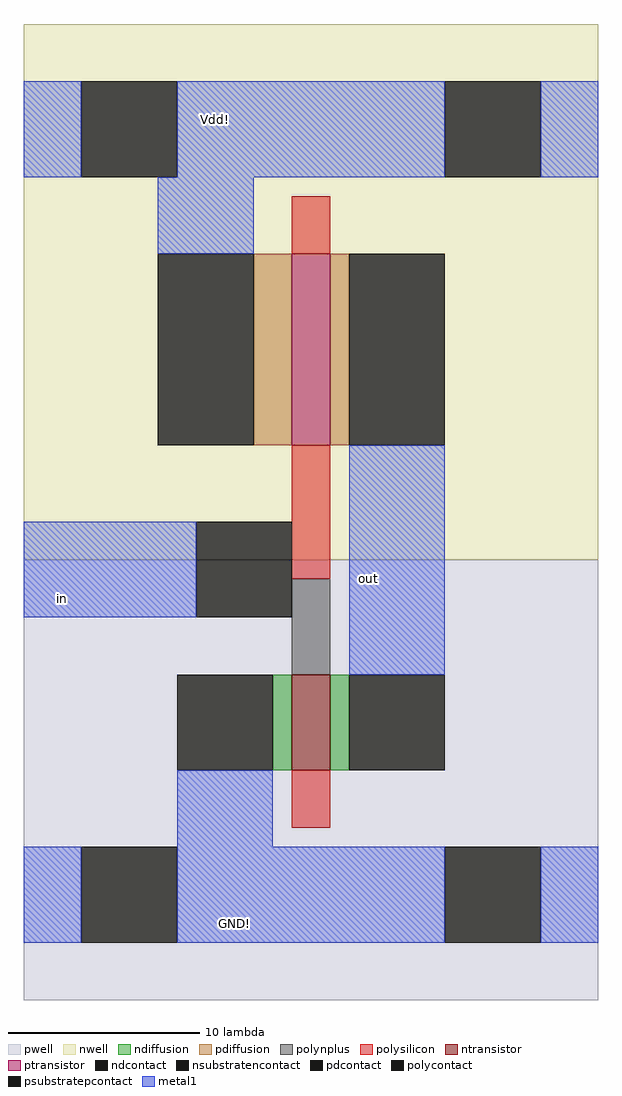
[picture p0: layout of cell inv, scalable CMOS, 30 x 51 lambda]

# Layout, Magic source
magic
tech scmos
<< nwell >>
rect -9 16 21 44
<< pwell >>
rect -9 -7 21 16
<< ntransistor >>
rect 5 5 7 10
<< ptransistor >>
rect 5 22 7 32
<< ndiffusion >>
rect 4 5 5 10
rect 7 5 8 10
<< pdiffusion >>
rect 3 22 5 32
rect 7 22 8 32
<< ndcontact >>
rect -1 5 4 10
rect 8 5 13 10
<< pdcontact >>
rect -2 22 3 32
rect 8 22 13 32
<< psubstratepcontact >>
rect -6 -4 -1 1
rect 13 -4 18 1
<< nsubstratencontact >>
rect -6 36 -1 41
rect 13 36 18 41
<< polysilicon >>
rect 5 32 7 35
rect 5 15 7 22
rect 5 2 7 5
<< polycontact >>
rect 0 13 5 18
<< polynplus >>
rect 5 10 7 15
<< metal1 >>
rect -9 36 -6 41
rect -1 36 13 41
rect 18 36 21 41
rect -2 32 3 36
rect -9 13 0 18
rect 8 10 13 22
rect -1 1 4 5
rect -9 -4 -6 1
rect -1 -4 13 1
rect 18 -4 21 1
<< labels >>
rlabel metal1 -7 14 -7 14 3 in
rlabel metal1 9 15 9 15 1 out
rlabel metal1 1 39 1 39 5 Vdd!
rlabel metal1 2 -3 2 -3 1 GND!
<< end >>
